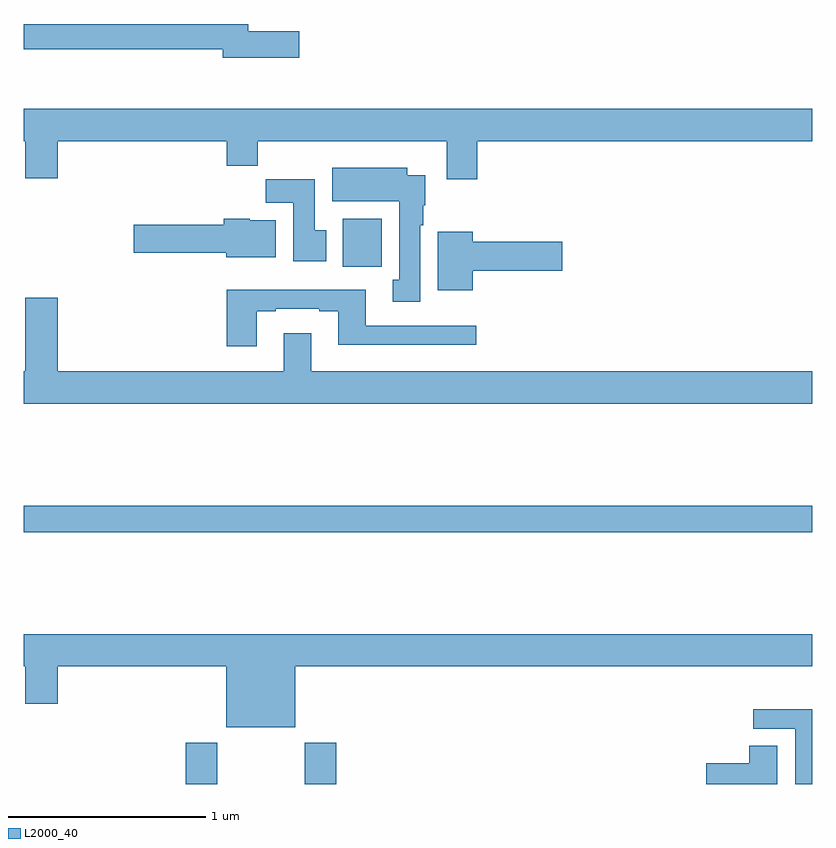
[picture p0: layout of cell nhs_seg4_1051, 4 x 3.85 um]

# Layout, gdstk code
import gdstk
lib = gdstk.Library(unit=1e-6, precision=1e-09)
def R(c, l, rs):  # rectangles x0, y0, x1, y1
    for r in rs: c.add(gdstk.rectangle(r[:2], r[2:], *l))
def P(c, l, *ps):  # polygons
    for p in ps: c.add(gdstk.Polygon(p, *l))
L2000_40 = (2000, 40)

nhs_seg4_1051 = lib.new_cell('nhs_seg4_1051')
R(nhs_seg4_1051, L2000_40, [(165.821,786.9,165.981,787.108), (166.426,786.9,166.586,787.108), (165,788.176,169,788.312), (166.619,789.524,166.816,789.766)])
P(nhs_seg4_1051, L2000_40, [(166.399,790.718),(166.138,790.718),(166.138,790.754),(165,790.754),(165,790.626),(166.01,790.626),(166.01,790.583),(166.399,790.583)],
  [(165,790.16),(165.008,790.16),(165.008,789.972),(165.172,789.972),(165.172,790.16),(166.031,790.16),(166.031,790.036),(166.187,790.036),(166.187,790.16),(167.147,790.16),(167.147,789.966),(167.3,789.966),(167.3,790.16),(169,790.16),(169,790.324),(165,790.324)],
  [(167.011,789.734),(167.026,789.734),(167.026,789.834),(167.038,789.834),(167.038,789.988),(166.945,789.988),(166.945,790.024),(166.565,790.024),(166.565,789.854),(166.904,789.854),(166.904,789.458),(166.871,789.458),(166.871,789.345),(167.011,789.345)],
  [(166.534,789.708),(166.477,789.708),(166.477,789.966),(166.228,789.966),(166.228,789.848),(166.367,789.848),(166.367,789.552),(166.534,789.552)],
  [(166.279,789.76),(166.146,789.76),(166.146,789.766),(166.016,789.766),(166.016,789.735),(165.558,789.735),(165.558,789.593),(166.028,789.593),(166.028,789.572),(166.279,789.572)],
  [(167.278,789.503),(167.731,789.503),(167.731,789.65),(167.278,789.65),(167.278,789.7),(167.099,789.7),(167.099,789.404),(167.278,789.404)],
  [(166.183,789.297),(166.279,789.297),(166.279,789.309),(166.499,789.309),(166.499,789.297),(166.595,789.297),(166.595,789.128),(167.296,789.128),(167.296,789.225),(166.735,789.225),(166.735,789.406),(166.031,789.406),(166.031,789.12),(166.183,789.12)],
  [(169,788.992),(166.459,788.992),(166.459,789.187),(166.319,789.187),(166.319,788.992),(165.172,788.992),(165.172,789.367),(165.008,789.367),(165.008,788.992),(165,788.992),(165,788.828),(169,788.828)],
  [(166.378,787.496),(169,787.496),(169,787.66),(165,787.66),(165,787.496),(165.008,787.496),(165.008,787.308),(165.172,787.308),(165.172,787.496),(166.028,787.496),(166.028,787.187),(166.378,787.187)],
  [(169,787.278),(168.699,787.278),(168.699,787.179),(168.912,787.179),(168.912,786.9),(169,786.9)],
  [(168.823,787.094),(168.68,787.094),(168.68,787.004),(168.462,787.004),(168.462,786.9),(168.823,786.9)])

lib.write_gds('nhs_seg4_1051.gds')
